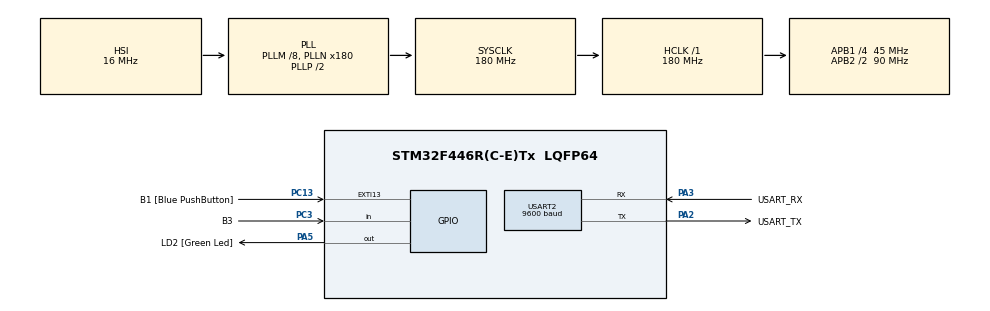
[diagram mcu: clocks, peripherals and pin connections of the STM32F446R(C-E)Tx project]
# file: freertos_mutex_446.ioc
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FREERTOS.Tasks01=defaultTask,24,128,StartDefaultTask,Default,NULL,Dynamic,NULL,NULL
FREERTOS.configUSE_NEWLIB_REENTRANT=1
Mcu.Family=STM32F4
Mcu.Name=STM32F446R(C-E)Tx
Mcu.Package=LQFP64
NVIC.PriorityGroup=NVIC_PRIORITYGROUP_4
NVIC.TIM8_TRG_COM_TIM14_IRQn=true\:15\:0\:false\:false\:true\:false\:false\:true\:true
NVIC.TimeBase=TIM8_TRG_COM_TIM14_IRQn
NVIC.TimeBaseIP=TIM14
PA13.GPIO_Label=TMS
PA13.Mode=Serial_Wire
PA13.Signal=SYS_JTMS-SWDIO
PA14.GPIO_Label=TCK
PA14.Mode=Serial_Wire
PA14.Signal=SYS_JTCK-SWCLK
PA2.GPIO_Label=USART_TX
PA2.Mode=Asynchronous
PA2.Signal=USART2_TX
PA3.GPIO_Label=USART_RX
PA3.Mode=Asynchronous
PA3.Signal=USART2_RX
PA5.GPIO_Label=LD2 [Green Led]
PA5.Signal=GPIO_Output
PB3.GPIO_Label=SWO
PB3.Signal=SYS_JTDO-SWO
PC13.GPIO_Label=B1 [Blue PushButton]
PC13.GPIO_ModeDefaultEXTI=GPIO_MODE_IT_FALLING
PC13.Signal=GPXTI13
PC14-OSC32_IN.Mode=LSE-External-Oscillator
PC14-OSC32_IN.Signal=RCC_OSC32_IN
PC15-OSC32_OUT.Mode=LSE-External-Oscillator
PC15-OSC32_OUT.Signal=RCC_OSC32_OUT
PC3.GPIO_Label=B3
PC3.GPIO_PuPd=GPIO_PULLUP
PC3.Signal=GPIO_Input
PH0-OSC_IN.Mode=HSE-External-Oscillator
PH0-OSC_IN.Signal=RCC_OSC_IN
PH1-OSC_OUT.Mode=HSE-External-Oscillator
PH1-OSC_OUT.Signal=RCC_OSC_OUT
ProjectManager.HeapSize=0x200
ProjectManager.StackSize=0x400
ProjectManager.TargetToolchain=STM32CubeIDE
RCC.48MHZClocksFreq_Value=84000000
RCC.AHBFreq_Value=180000000
RCC.APB1CLKDivider=RCC_HCLK_DIV4
RCC.APB1Freq_Value=45000000
RCC.APB1TimFreq_Value=90000000
RCC.APB2CLKDivider=RCC_HCLK_DIV2
RCC.APB2Freq_Value=90000000
RCC.APB2TimFreq_Value=180000000
RCC.CortexFreq_Value=180000000
RCC.FLatency-AdvancedSettings=FLASH_LATENCY_5
RCC.HCLKFreq_Value=180000000
RCC.HSE_VALUE=8000000
RCC.HSI_VALUE=16000000
RCC.PLLM=8
RCC.PLLN=180
RCC.SYSCLKFreq_VALUE=180000000
RCC.SYSCLKSource=RCC_SYSCLKSOURCE_PLLCLK
RCC.USBFreq_Value=180000000
RCC.VCOOutputFreq_Value=360000000
USART2.BaudRate=9600
USART2.VirtualMode=VM_ASYNC
VP_FREERTOS_VS_CMSIS_V2.Mode=CMSIS_V2
VP_SYS_VS_tim14.Mode=TIM14
board=NUCLEO-F446RE

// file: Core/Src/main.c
/* USER CODE BEGIN Header */
/**
  ******************************************************************************
  * @file           : main.c
  * @brief          : Main program body
  ******************************************************************************
  * @attention
  *
  * Copyright (c) 2026 STMicroelectronics.
  * All rights reserved.
  *
  * This software is licensed under terms that can be found in the LICENSE file
  * in the root directory of this software component.
  * If no LICENSE file comes with this software, it is provided AS-IS.
  *
  ******************************************************************************
  */
/* USER CODE END Header */
#include "main.h"
#include "cmsis_os.h"

/* USER CODE BEGIN Includes */
#include "task.h"
#include "semphr.h"
#include <string.h>
/* USER CODE END Includes */

/* USER CODE BEGIN PTD */
typedef struct {
	GPIO_TypeDef*	puerto;
	uint16_t 		pin;
	char			msg[32];
} Datos_pulsador_t;
/* USER CODE END PTD */

UART_HandleTypeDef huart2;

/* Definitions for defaultTask */
osThreadId_t defaultTaskHandle;
const osThreadAttr_t defaultTask_attributes = {
  .name = "defaultTask",
  .stack_size = 128 * 4,
  .priority = (osPriority_t) osPriorityNormal,
};
/* USER CODE BEGIN PV */
SemaphoreHandle_t mutex_uart;
Datos_pulsador_t b[2];
/* USER CODE END PV */

void SystemClock_Config(void);
static void MX_GPIO_Init(void);
static void MX_USART2_UART_Init(void);
void StartDefaultTask(void *argument);

/* USER CODE BEGIN 0 */
void tareaboton(void *p)
{
	GPIO_TypeDef *puerto = ((Datos_pulsador_t*)p)->puerto;
	uint16_t pin = ((Datos_pulsador_t*)p)->pin;
	char *msg = ((Datos_pulsador_t*)p)->msg;
	GPIO_PinState anterior = HAL_GPIO_ReadPin(puerto, pin);
	GPIO_PinState actual;
	while(1){
		actual = HAL_GPIO_ReadPin(puerto, pin);
		if(actual == GPIO_PIN_RESET && anterior == GPIO_PIN_SET)
		{
			xSemaphoreTake(mutex_uart, portMAX_DELAY);
		    HAL_UART_Transmit(&huart2,(uint8_t *)msg, strlen(msg),HAL_MAX_DELAY);
		    xSemaphoreGive(mutex_uart);
		}
		anterior = actual;
	    vTaskDelay(pdMS_TO_TICKS(5));
	}
}

/* USER CODE END 0 */

int main(void)
{

  /* MCU Configuration--------------------------------------------------------*/

  /* Reset of all peripherals, Initializes the Flash interface and the Systick. */
  HAL_Init();

  /* Configure the system clock */
  SystemClock_Config();

  /* Initialize all configured peripherals */
  MX_GPIO_Init();
  MX_USART2_UART_Init();

  /* Init scheduler */
  osKernelInitialize();

  /* USER CODE BEGIN RTOS_SEMAPHORES */
  /* add semaphores, ... */
  mutex_uart = xSemaphoreCreateMutex();
  /* USER CODE END RTOS_SEMAPHORES */

  /* Create the thread(s) */
  /* creation of defaultTask */
  defaultTaskHandle = osThreadNew(StartDefaultTask, NULL, &defaultTask_attributes);

  /* USER CODE BEGIN RTOS_THREADS */
  /* add threads, ... */
  b[0].puerto = B1_GPIO_Port;
  b[0].pin = B1_Pin;
  memset(b[0].msg,0,32);
  strcpy(b[0].msg,"Boton 1 presionado\r\n");
  b[1].puerto = B3_GPIO_Port;
  b[1].pin = B3_Pin;
  memset(b[1].msg,0,32);
  strcpy(b[1].msg,"Boton 2 presionado\r\n");
  for(int i=0; i<2; i++) {
	  xTaskCreate(tareaboton,
	    		  	  "btn",
	    			  configMINIMAL_STACK_SIZE*2,
	    			  &b[i],
	    			  osPriorityNormal,
	    			  NULL);
  }

  /* USER CODE END RTOS_THREADS */

  /* Start scheduler */
  osKernelStart();

  /* We should never get here as control is now taken by the scheduler */

  /* Infinite loop */
  while (1)
  {

  }
}

void SystemClock_Config(void)
{
  RCC_OscInitTypeDef RCC_OscInitStruct = {0};
  RCC_ClkInitTypeDef RCC_ClkInitStruct = {0};

  /** Configure the main internal regulator output voltage
  */
  __HAL_RCC_PWR_CLK_ENABLE();
  __HAL_PWR_VOLTAGESCALING_CONFIG(PWR_REGULATOR_VOLTAGE_SCALE1);

  /** Initializes the RCC Oscillators according to the specified parameters
  * in the RCC_OscInitTypeDef structure.
  */
  RCC_OscInitStruct.OscillatorType = RCC_OSCILLATORTYPE_HSI;
  RCC_OscInitStruct.HSIState = RCC_HSI_ON;
  RCC_OscInitStruct.HSICalibrationValue = RCC_HSICALIBRATION_DEFAULT;
  RCC_OscInitStruct.PLL.PLLState = RCC_PLL_ON;
  RCC_OscInitStruct.PLL.PLLSource = RCC_PLLSOURCE_HSI;
  RCC_OscInitStruct.PLL.PLLM = 8;
  RCC_OscInitStruct.PLL.PLLN = 180;
  RCC_OscInitStruct.PLL.PLLP = RCC_PLLP_DIV2;
  RCC_OscInitStruct.PLL.PLLQ = 2;
  RCC_OscInitStruct.PLL.PLLR = 2;
  if (HAL_RCC_OscConfig(&RCC_OscInitStruct) != HAL_OK)
  {
    Error_Handler();
  }

  /** Activate the Over-Drive mode
  */
  if (HAL_PWREx_EnableOverDrive() != HAL_OK)
  {
    Error_Handler();
  }

  /** Initializes the CPU, AHB and APB buses clocks
  */
  RCC_ClkInitStruct.ClockType = RCC_CLOCKTYPE_HCLK|RCC_CLOCKTYPE_SYSCLK
                              |RCC_CLOCKTYPE_PCLK1|RCC_CLOCKTYPE_PCLK2;
  RCC_ClkInitStruct.SYSCLKSource = RCC_SYSCLKSOURCE_PLLCLK;
  RCC_ClkInitStruct.AHBCLKDivider = RCC_SYSCLK_DIV1;
  RCC_ClkInitStruct.APB1CLKDivider = RCC_HCLK_DIV4;
  RCC_ClkInitStruct.APB2CLKDivider = RCC_HCLK_DIV2;

  if (HAL_RCC_ClockConfig(&RCC_ClkInitStruct, FLASH_LATENCY_5) != HAL_OK)
  {
    Error_Handler();
  }
}

static void MX_USART2_UART_Init(void)
{

  huart2.Instance = USART2;
  huart2.Init.BaudRate = 9600;
  huart2.Init.WordLength = UART_WORDLENGTH_8B;
  huart2.Init.StopBits = UART_STOPBITS_1;
  huart2.Init.Parity = UART_PARITY_NONE;
  huart2.Init.Mode = UART_MODE_TX_RX;
  huart2.Init.HwFlowCtl = UART_HWCONTROL_NONE;
  huart2.Init.OverSampling = UART_OVERSAMPLING_16;
  if (HAL_UART_Init(&huart2) != HAL_OK)
  {
    Error_Handler();
  }

}

static void MX_GPIO_Init(void)
{
  GPIO_InitTypeDef GPIO_InitStruct = {0};

  /* GPIO Ports Clock Enable */
  __HAL_RCC_GPIOC_CLK_ENABLE();
  __HAL_RCC_GPIOH_CLK_ENABLE();
  __HAL_RCC_GPIOA_CLK_ENABLE();
  __HAL_RCC_GPIOB_CLK_ENABLE();

  /*Configure GPIO pin Output Level */
  HAL_GPIO_WritePin(LD2_GPIO_Port, LD2_Pin, GPIO_PIN_RESET);

  /*Configure GPIO pin : B1_Pin */
  GPIO_InitStruct.Pin = B1_Pin;
  GPIO_InitStruct.Mode = GPIO_MODE_INPUT;
  GPIO_InitStruct.Pull = GPIO_PULLDOWN;
  HAL_GPIO_Init(B1_GPIO_Port, &GPIO_InitStruct);

  /*Configure GPIO pin : B3_Pin */
  GPIO_InitStruct.Pin = B3_Pin;
  GPIO_InitStruct.Mode = GPIO_MODE_INPUT;
  GPIO_InitStruct.Pull = GPIO_PULLUP;
  HAL_GPIO_Init(B3_GPIO_Port, &GPIO_InitStruct);

  /*Configure GPIO pin : LD2_Pin */
  GPIO_InitStruct.Pin = LD2_Pin;
  GPIO_InitStruct.Mode = GPIO_MODE_OUTPUT_PP;
  GPIO_InitStruct.Pull = GPIO_NOPULL;
  GPIO_InitStruct.Speed = GPIO_SPEED_FREQ_LOW;
  HAL_GPIO_Init(LD2_GPIO_Port, &GPIO_InitStruct);

}

void StartDefaultTask(void *argument)
{
  /* USER CODE BEGIN 5 */
  /* Infinite loop */
  for(;;)
  {
    osDelay(250);
    HAL_GPIO_TogglePin(LD2_GPIO_Port, LD2_Pin);
  }
  /* USER CODE END 5 */
}

void HAL_TIM_PeriodElapsedCallback(TIM_HandleTypeDef *htim)
{
  if (htim->Instance == TIM14) {
    HAL_IncTick();
  }
}

void Error_Handler(void)
{
  __disable_irq();
  while (1)
  {
  }
}
